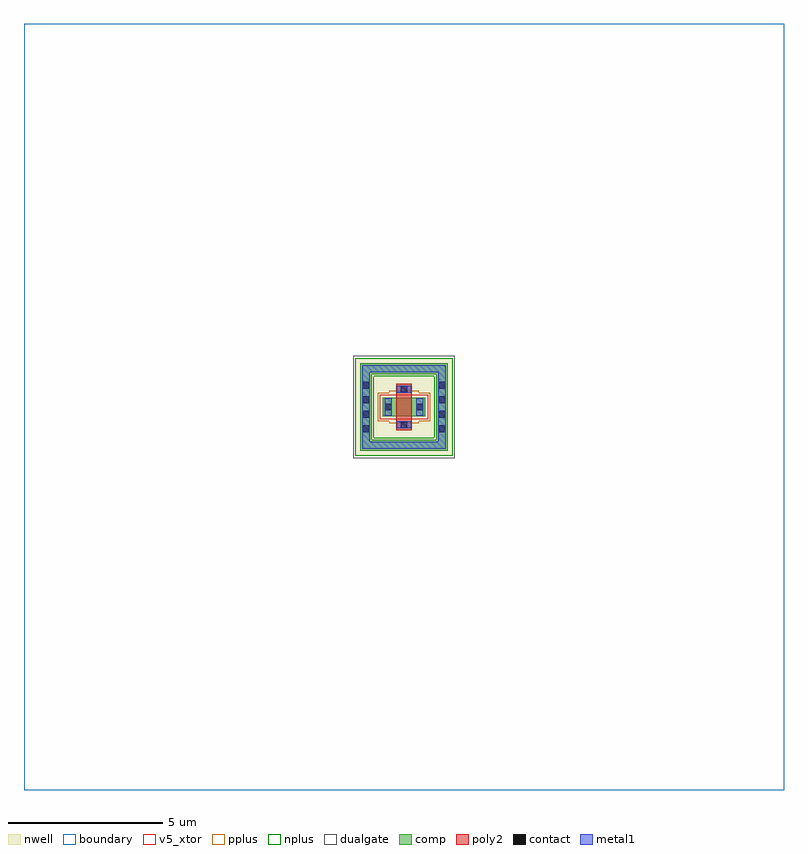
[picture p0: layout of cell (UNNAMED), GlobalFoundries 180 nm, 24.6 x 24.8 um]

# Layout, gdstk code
import gdstk
lib = gdstk.Library(unit=1e-6, precision=1e-09)
def R(c, l, rs):  # rectangles x0, y0, x1, y1
    for r in rs: c.add(gdstk.rectangle(r[:2], r[2:], *l))
def A(c, l, x, y, w, h, nx, ny, dx, dy):  # array of equal rectangles
    R(c, l, [(x+i*dx, y+j*dy, x+i*dx+w, y+j*dy+h) for i in range(nx) for j in range(ny)])
boundary = (0, 0)
nwell = (21, 0)
comp = (22, 0)
poly2 = (30, 0)
pplus = (31, 0)
nplus = (32, 0)
contact = (33, 0)
metal1 = (34, 0)
dualgate = (55, 0)
v5_xtor = (112, 1)

c__unnamed_ = lib.new_cell('(UNNAMED)')
R(c__unnamed_, boundary, [(-12.3,-12.4,12.3,12.4)])
R(c__unnamed_, nwell, [(-1.57,-1.58,1.57,1.58)])
R(c__unnamed_, comp, [(-1.41,-1.42,1.41,-1.06), (-1.41,-1.06,-1.05,1.06), (1.05,-1.06,1.41,1.06), (-0.69,-0.3,0.69,0.3), (-1.41,1.06,1.41,1.42)])
R(c__unnamed_, poly2, [(-0.25,-0.76,0.25,0.76)])
R(c__unnamed_, pplus, [(-0.48,-0.53,0.48,-0.46), (-0.85,-0.46,0.85,0.46), (-0.48,0.46,0.48,0.53)])
R(c__unnamed_, nplus, [(-1.57,-1.58,1.57,-0.99), (-1.57,-0.99,-0.98,0.99), (0.98,-0.99,1.57,0.99), (-1.57,0.99,1.57,1.58)])
A(c__unnamed_, contact, -1.34, -0.815, 0.22, 0.22, 1, 4, 0, 0.47)
A(c__unnamed_, contact, 1.12, -0.815, 0.22, 0.22, 1, 4, 0, 0.47)
R(c__unnamed_, contact, [(-0.11,-0.69,0.11,-0.47), (-0.62,-0.11,-0.4,0.11), (0.4,-0.11,0.62,0.11), (-0.11,0.47,0.11,0.69)])
R(c__unnamed_, metal1, [(-1.345,-1.355,1.345,-1.125), (-1.345,-1.125,-1.115,1.125), (1.115,-1.125,1.345,1.125), (-0.24,-0.695,0.24,-0.465), (-0.625,-0.29,-0.395,0.29), (0.395,-0.29,0.625,0.29), (-0.24,0.465,0.24,0.695), (-1.345,1.125,1.345,1.355)])
R(c__unnamed_, dualgate, [(-1.65,-1.66,1.65,1.66)])
R(c__unnamed_, v5_xtor, [(-0.79,-0.4,0.79,0.4)])

lib.write_gds('_UNNAMED_.gds')
